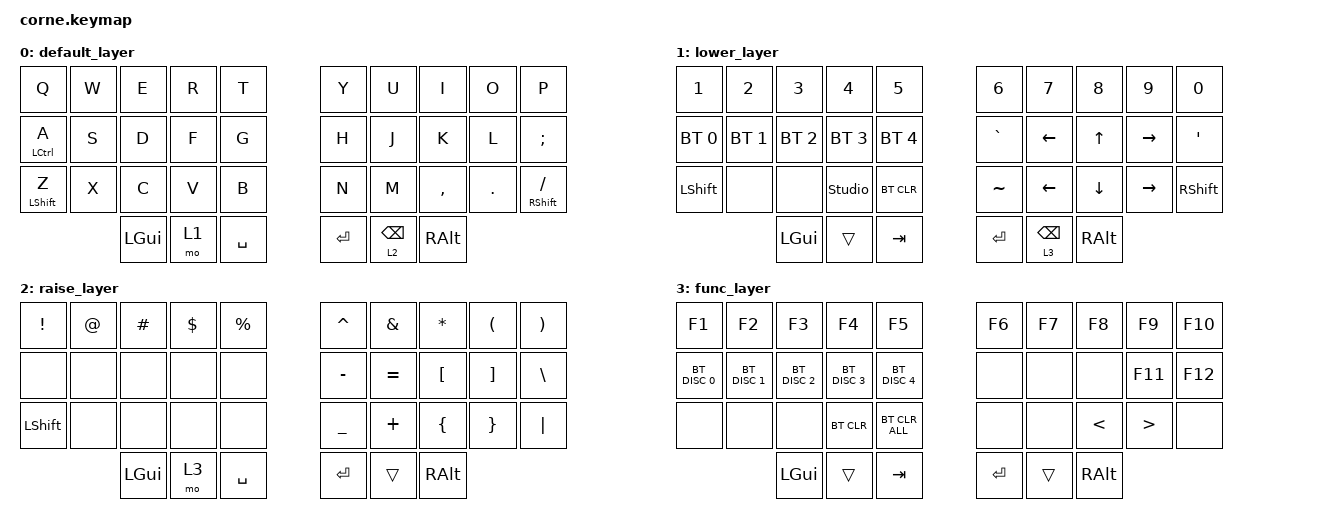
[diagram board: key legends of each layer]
/*
 * Copyright (c) 2020 The ZMK Contributors
 *
 * SPDX-License-Identifier: MIT
 */

#include <behaviors.dtsi>
#include <dt-bindings/zmk/bt.h>
#include <dt-bindings/zmk/keys.h>

/ {
    // Tell ZMK Studio to use the 5-column layout natively
    chosen {
        zmk,physical-layout = &foostan_corne_5col_layout;
    };

    combos {
        compatible = "zmk,combos";

        combo_esc {
            timeout-ms = <50>;
            key-positions = <0 1>;
            bindings = <&kp ESC>;
        };

        combo_DQT {
            timeout-ms = <50>;
            key-positions = <5 6>;
            bindings = <&kp DQT>;
        };

        combo_SQT {
            timeout-ms = <50>;
            key-positions = <3 4>;
            bindings = <&kp SQT>;
        };

        combo_DEL {
            timeout-ms = <50>;
            key-positions = <5 6 7>;
            bindings = <&kp DEL>;
        };
    };

    keymap {
        compatible = "zmk,keymap";

        default_layer {
            bindings = <
&kp Q        &kp W  &kp E     &kp R  &kp T            &kp Y    &kp U            &kp I      &kp O    &kp P         
&mt LCTRL A  &kp S  &kp D     &kp F  &kp G            &kp H    &kp J            &kp K      &kp L    &kp SEMI      
&mt LSHFT Z  &kp X  &kp C     &kp V  &kp B            &kp N    &kp M            &kp COMMA  &kp DOT  &mt RSHFT FSLH
                    &kp LGUI  &mo 1  &kp SPACE    &kp RET  &lt 2 BACKSPACE  &kp RALT
            >;
        };

        lower_layer {
            bindings = <
&kp N1        &kp N2        &kp N3        &kp N4         &kp N5           &kp N6     &kp N7           &kp N8              &kp N9     &kp N0    
&bt BT_SEL 0  &bt BT_SEL 1  &bt BT_SEL 2  &bt BT_SEL 3   &bt BT_SEL 4     &kp GRAVE  &kp LEFT         &kp UP              &kp RIGHT  &kp SQT  
&kp LSHFT     &none         &none         &studio_unlock &bt BT_CLR       &kp TILDE  &kp LEFT         &kp DOWN            &kp RIGHT  &kp RSHFT
                            &kp LGUI      &trans         &kp TAB          &kp RET    &lt 3 BACKSPACE  &kp RALT
            >;
        };

        raise_layer {
            bindings = <
&kp EXCL   &kp AT  &kp HASH  &kp DLLR  &kp PRCNT        &kp CARET  &kp AMPS   &kp ASTRK           &kp LPAR  &kp RPAR
&none      &none   &none     &none     &none            &kp MINUS  &kp EQUAL  &kp LBKT            &kp RBKT  &kp BSLH
&kp LSHFT  &none   &none     &none     &none            &kp UNDER  &kp PLUS   &kp LBRC            &kp RBRC  &kp PIPE
                   &kp LGUI  &mo 3     &kp SPACE        &kp RET    &trans     &kp RALT
            >;
        };

        func_layer {
            bindings = <
&kp F1         &kp F2         &kp F3         &kp F4         &kp F5            &kp F6   &kp F7  &kp F8              &kp F9   &kp F10
&bt BT_DISC 0  &bt BT_DISC 1  &bt BT_DISC 2  &bt BT_DISC 3  &bt BT_DISC 4     &none    &none   &none               &kp F11  &kp F12 
&none          &none          &none          &bt BT_CLR     &bt BT_CLR_ALL    &none    &none   &kp LT              &kp GT   &none   
                              &kp LGUI       &trans         &kp TAB           &kp RET  &trans  &kp RALT
            >;
        };
    };
};
